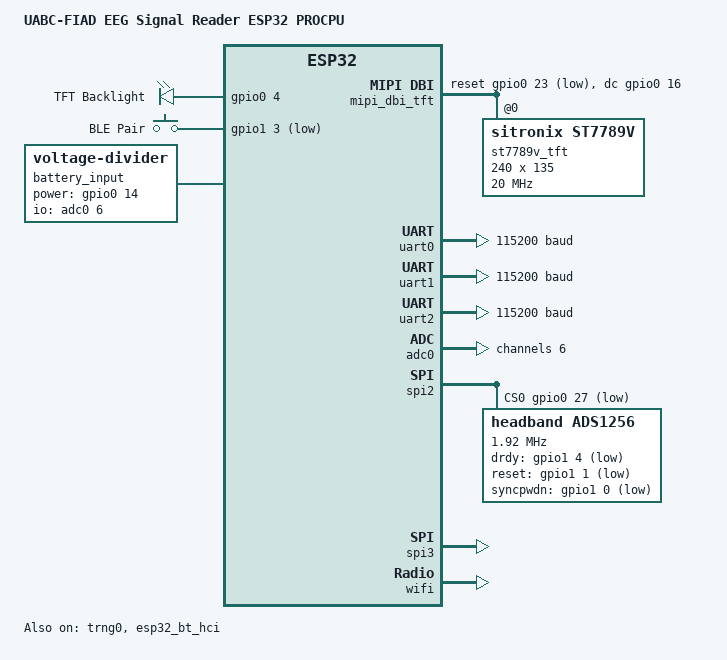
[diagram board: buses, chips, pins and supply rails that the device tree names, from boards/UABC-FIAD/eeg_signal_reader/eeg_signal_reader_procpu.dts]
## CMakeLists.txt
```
cmake_minimum_required(VERSION 3.20.0)

list(APPEND BOARD_ROOT ${CMAKE_CURRENT_SOURCE_DIR})

find_package(Zephyr REQUIRED HINTS $ENV{ZEPHYR_BASE})
project(esp32_t_display_ads1256)

target_sources(app PRIVATE
    src/main.cpp
    src/app/app_controller.cpp
    src/app/app_events.cpp
    src/app/app_state.cpp
    src/drivers/ads1256.cpp
    src/services/acquisition_service.cpp
    src/services/ble_service.cpp
    src/services/signal_processing_service.cpp
    ui/src/ui.cpp
    ui/src/ui_events.cpp
)

target_include_directories(app PRIVATE
    include
    src
    ui/include
)

if(EXISTS ${CMAKE_CURRENT_SOURCE_DIR}/ui/file_list_gen.cmake AND
   EXISTS ${CMAKE_CURRENT_SOURCE_DIR}/ui/component_lib_list_gen.cmake)
    add_subdirectory(ui)
    if(TARGET zephyr_interface)
        target_link_libraries(lib-ui PUBLIC zephyr_interface)
    endif()
    target_link_libraries(app PRIVATE lib-ui)
endif()
```

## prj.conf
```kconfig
CONFIG_GPIO=y
CONFIG_SPI=y
CONFIG_ADC=y
CONFIG_DISPLAY=y
CONFIG_MIPI_DBI=y
CONFIG_ST7789V=y
CONFIG_CPP=y
CONFIG_STD_CPP17=y
CONFIG_CONSOLE=y
CONFIG_PRINTK=y
CONFIG_SERIAL=y
CONFIG_LOG=y
CONFIG_MAIN_STACK_SIZE=8192
CONFIG_BT=y
CONFIG_BT_PERIPHERAL=y
CONFIG_BT_DEVICE_NAME="UABC EEG ADS1256"
CONFIG_BT_MAX_CONN=1
CONFIG_BT_MAX_PAIRED=1
CONFIG_BT_SMP=y
CONFIG_BT_BONDABLE=y
CONFIG_BT_SMP_APP_PAIRING_ACCEPT=y
CONFIG_BT_SMP_ENFORCE_MITM=n
CONFIG_BT_SETTINGS=y
CONFIG_BT_ZEPHYR_NUS=y
CONFIG_FLASH=y
CONFIG_FLASH_MAP=y
CONFIG_NVS=y
CONFIG_SETTINGS=y
CONFIG_SETTINGS_NVS=y

CONFIG_LVGL=y
CONFIG_LV_Z_AUTO_INIT=n
CONFIG_LV_Z_MEM_POOL_SIZE=16384
CONFIG_LV_Z_VDB_SIZE=10
CONFIG_LV_COLOR_DEPTH_16=y
CONFIG_LV_COLOR_16_SWAP=y
CONFIG_LV_FONT_MONTSERRAT_22=y
CONFIG_LV_FONT_MONTSERRAT_48=y
```

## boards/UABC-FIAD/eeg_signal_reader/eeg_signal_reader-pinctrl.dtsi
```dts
#include <zephyr/dt-bindings/pinctrl/esp-pinctrl-common.h>
#include <zephyr/dt-bindings/pinctrl/esp32-pinctrl.h>
#include <zephyr/dt-bindings/pinctrl/esp32-gpio-sigmap.h>

&pinctrl {
	uart0_default: uart0_default {
		group1 {
			pinmux = <UART0_TX_GPIO1>;
			output-high;
		};

		group2 {
			pinmux = <UART0_RX_GPIO3>;
			bias-pull-up;
		};
	};

	ads1256_spi_default: ads1256_spi_default {
		group1 {
			pinmux = <SPIM2_MISO_GPIO39>,
				 <SPIM2_SCLK_GPIO25>,
				 <SPIM2_CSEL_GPIO27>;
		};

		group2 {
			pinmux = <SPIM2_MOSI_GPIO26>;
			output-low;
		};
	};

	display_spi_default: display_spi_default {
		group1 {
			pinmux = <SPIM3_SCLK_GPIO18>,
				 <SPIM3_CSEL_GPIO5>;
		};

		group2 {
			pinmux = <SPIM3_MOSI_GPIO19>;
			output-low;
		};
	};
};
```

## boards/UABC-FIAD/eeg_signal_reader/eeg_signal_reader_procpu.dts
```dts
/*
 * SPDX-License-Identifier: Apache-2.0
 */
/dts-v1/;

#include <espressif/esp32/esp32_wrover_e_n4r8.dtsi>
#include "eeg_signal_reader-pinctrl.dtsi"
#include <espressif/partitions_0x1000_amp.dtsi>
#include <zephyr/dt-bindings/adc/adc.h>
#include <zephyr/dt-bindings/display/panel.h>
#include <zephyr/dt-bindings/gpio/gpio.h>
#include <zephyr/dt-bindings/mipi_dbi/mipi_dbi.h>

/ {
	model = "UABC-FIAD EEG Signal Reader ESP32 PROCPU";
	compatible = "uabc-fiad,eeg-signal-reader";

	aliases {
		uart-0 = &uart0;
		watchdog0 = &wdt0;
		sw0 = &pair_button;
	};

	chosen {
		zephyr,sram = &sram1;
		zephyr,console = &uart0;
		zephyr,shell-uart = &uart0;
		zephyr,flash = &flash0;
		zephyr,code-partition = &slot0_partition;
		zephyr,bt-hci = &esp32_bt_hci;
		zephyr,display = &st7789v_tft;
	};

	leds {
		compatible = "gpio-leds";

		display_bl: display_bl {
			gpios = <&gpio0 4 GPIO_ACTIVE_HIGH>;
			label = "TFT Backlight";
		};
	};

	buttons {
		compatible = "gpio-keys";

		pair_button: pair_button {
			gpios = <&gpio1 3 GPIO_ACTIVE_LOW>;
			label = "BLE Pair";
		};
	};

	battery_input: battery_input {
		compatible = "voltage-divider";
		io-channels = <&adc0 6>;
		output-ohms = <100000>;
		full-ohms = <(100000 + 100000)>;
		power-gpios = <&gpio0 14 GPIO_ACTIVE_HIGH>;
		power-on-sample-delay-us = <15000>;
	};

	mipi_dbi_tft {
		compatible = "zephyr,mipi-dbi-spi";
		spi-dev = <&spi3>;
		dc-gpios = <&gpio0 16 GPIO_ACTIVE_HIGH>;
		reset-gpios = <&gpio0 23 GPIO_ACTIVE_LOW>;
		write-only;
		#address-cells = <1>;
		#size-cells = <0>;
		status = "okay";

		st7789v_tft: st7789v@0 {
			compatible = "sitronix,st7789v";
			reg = <0>;
			mipi-max-frequency = <20000000>;

			width = <240>;
			height = <135>;
			x-offset = <40>;
			y-offset = <53>;

			vcom = <0x19>;
			gctrl = <0x35>;
			vrhs = <0x12>;
			vdvs = <0x20>;
			mdac = <0x77>;
			gamma = <0x00>;
			pixel-format = <PANEL_PIXEL_FORMAT_RGB_565>;
			lcm = <0x2c>;
			porch-param = [0c 0c 00 33 33];
			cmd2en-param = [5a 69 02 00];
			pwctrl1-param = [a4 a1];
			pvgam-param = [d0 04 0d 11 13 2b 3f 54 4c 18 0d 0b 1f 23];
			nvgam-param = [d0 04 0c 11 13 2c 3f 44 51 2f 1f 1f 20 23];
			ram-param = [00 f0];
			rgb-param = [40 02 14];
			mipi-mode = "MIPI_DBI_MODE_SPI_4WIRE";
			status = "okay";
		};
	};
};

&uart0 {
	status = "okay";
	current-speed = <115200>;
	pinctrl-0 = <&uart0_default>;
	pinctrl-names = "default";
};

&uart1 {
	current-speed = <115200>;
};

&uart2 {
	current-speed = <115200>;
};

&gpio0 {
	status = "okay";
};

&gpio1 {
	status = "okay";
};

&adc0 {
	status = "okay";
	#address-cells = <1>;
	#size-cells = <0>;

	channel@6 {
		reg = <6>;
		zephyr,gain = "ADC_GAIN_1_4";
		zephyr,reference = "ADC_REF_INTERNAL";
		zephyr,vref-mv = <1100>;
		zephyr,acquisition-time = <ADC_ACQ_TIME_DEFAULT>;
		zephyr,resolution = <12>;
		zephyr,oversampling = <4>;
	};
};

&spi2 {
	#address-cells = <1>;
	#size-cells = <0>;
	pinctrl-0 = <&ads1256_spi_default>;
	pinctrl-names = "default";
	cs-gpios = <&gpio0 27 GPIO_ACTIVE_LOW>;
	status = "okay";

	ads1256: adc@0 {
		compatible = "headband,ads1256";
		reg = <0>;
		spi-max-frequency = <1920000>;
		drdy-gpios = <&gpio1 4 GPIO_ACTIVE_LOW>;
		reset-gpios = <&gpio1 1 GPIO_ACTIVE_LOW>;
		syncpwdn-gpios = <&gpio1 0 GPIO_ACTIVE_LOW>;
		single-ended-channel = <4>;
		data-rate = <10>;
		pga = <1>;
		status = "okay";
	};
};

&spi3 {
	#address-cells = <1>;
	#size-cells = <0>;
	pinctrl-0 = <&display_spi_default>;
	pinctrl-names = "default";
	cs-gpios = <&gpio0 5 GPIO_ACTIVE_LOW>;
	status = "okay";
};

&timer0 {
	status = "disabled";
};

&timer1 {
	status = "disabled";
};

&timer2 {
	status = "disabled";
};

&timer3 {
	status = "disabled";
};

&trng0 {
	status = "okay";
};

&esp32_bt_hci {
	status = "okay";
};

&wifi {
	status = "okay";
};
```

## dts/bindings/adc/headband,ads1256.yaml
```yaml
# SPDX-License-Identifier: Apache-2.0

description: Headband ADS1256 SPI ADC helper binding

compatible: "headband,ads1256"

include: spi-device.yaml

properties:
  drdy-gpios:
    type: phandle-array
    required: true
    description: Data-ready pin from the ADS1256.

  reset-gpios:
    type: phandle-array
    description: Optional active-low reset pin.

  syncpwdn-gpios:
    type: phandle-array
    description: Optional active-low SYNC/PDWN pin.

  single-ended-channel:
    type: int
    required: true
    enum: [0, 1, 2, 3, 4, 5, 6, 7]
    description: Single-ended ADS1256 channel to sample against AINCOM.

  data-rate:
    type: int
    default: 10
    enum: [2, 5, 10, 15, 25, 30, 50, 60, 100, 500, 1000, 2000, 3750, 7500, 15000, 30000]
    description: Requested ADS1256 output data rate in samples per second.

  pga:
    type: int
    default: 1
    enum: [1, 2, 4, 8, 16, 32, 64]
    description: ADS1256 programmable gain.
```

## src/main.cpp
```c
#include "app/app_controller.hpp"

int main(void)
{
	app::Controller::instance().init();
	app::Controller::instance().run();
	return 0;
}
```

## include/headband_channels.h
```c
#ifndef HEADBAND_CHANNELS_H_
#define HEADBAND_CHANNELS_H_

#include <stddef.h>
#include <stdint.h>

namespace headband {

constexpr size_t kMaxPlotChannels = 1U;

struct SampleBuffer {
	int32_t values[kMaxPlotChannels];
};

inline void clear_samples(SampleBuffer *samples)
{
	for (size_t channel = 0U; channel < kMaxPlotChannels; ++channel) {
		samples->values[channel] = 0;
	}
}

} // namespace headband

#endif
```
